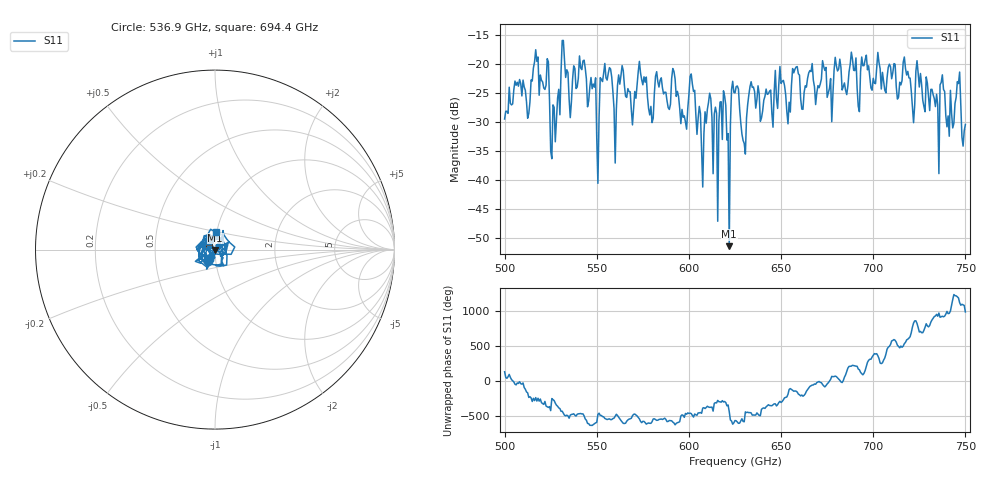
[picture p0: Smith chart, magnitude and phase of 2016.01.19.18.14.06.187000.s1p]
!Created with skrf (http://scikit-rf.org).
# GHz S RI R 50.0
!freq ReS11 ImS11
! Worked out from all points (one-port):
!   401 points, 500 GHz to 750 GHz, reference 50 ohm
!   lowest |S11| = -51.3 dB at 621.9 GHz (marker M1), VSWR 1.01, Z = 50 - j0.269 ohm
!   |S11| at or under -10 dB: start of sweep to end of sweep
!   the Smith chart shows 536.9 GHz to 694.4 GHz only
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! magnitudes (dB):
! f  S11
! 500 GHz  -29.4
! 513.1 GHz  -28.5
! 516.9 GHz  -17.5
! 526.2 GHz  -27.0
! 531.2 GHz  -15.9
! 535.6 GHz  -29.2
! 541.9 GHz  -20.9
! 550 GHz  -32.8
! 553.1 GHz  -23.0
! 560 GHz  -37.0
! 562.5 GHz  -23.4
! 593.8 GHz  -24.6
! 598.1 GHz  -30.0
! 601.9 GHz  -23.4
! 608.1 GHz  -32.0
! 611.2 GHz  -25.0
! 614.4 GHz  -27.4
! 618.8 GHz  -24.6
! 621.9 GHz  -51.3
! 625 GHz  -24.9
! 629.4 GHz  -33.1
! 633.8 GHz  -23.0
! 656.2 GHz  -20.7
! 687.5 GHz  -20.0
! 718.8 GHz  -21.2
! 734.4 GHz  -25.2
! 746.2 GHz  -23.3
! 750 GHz  -30.4
